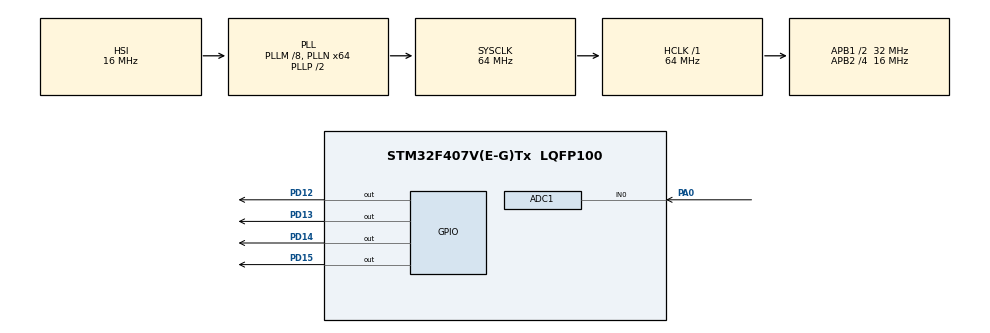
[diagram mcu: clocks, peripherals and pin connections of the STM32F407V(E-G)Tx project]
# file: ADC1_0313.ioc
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ADC1.Channel-0\#ChannelRegularConversion=ADC_CHANNEL_0
ADC1.NbrOfConversionFlag=1
ADC1.Rank-0\#ChannelRegularConversion=1
ADC1.SamplingTime-0\#ChannelRegularConversion=ADC_SAMPLETIME_3CYCLES
ADC1.master=1
Mcu.Family=STM32F4
Mcu.Name=STM32F407V(E-G)Tx
Mcu.Package=LQFP100
NVIC.PriorityGroup=NVIC_PRIORITYGROUP_0
PA0-WKUP.Signal=ADCx_IN0
PD12.Signal=GPIO_Output
PD13.Signal=GPIO_Output
PD14.Signal=GPIO_Output
PD15.Signal=GPIO_Output
ProjectManager.HeapSize=0x200
ProjectManager.StackSize=0x400
ProjectManager.TargetToolchain=STM32CubeIDE
RCC.48MHZClocksFreq_Value=18285714.285714287
RCC.AHBFreq_Value=64000000
RCC.APB1CLKDivider=RCC_HCLK_DIV2
RCC.APB1Freq_Value=32000000
RCC.APB1TimFreq_Value=64000000
RCC.APB2CLKDivider=RCC_HCLK_DIV4
RCC.APB2Freq_Value=16000000
RCC.APB2TimFreq_Value=32000000
RCC.CortexFreq_Value=64000000
RCC.HCLKFreq_Value=64000000
RCC.HSE_VALUE=8000000
RCC.HSI_VALUE=16000000
RCC.PLLM=8
RCC.PLLN=64
RCC.PLLQ=7
RCC.SYSCLKFreq_VALUE=64000000
RCC.SYSCLKSource=RCC_SYSCLKSOURCE_PLLCLK
RCC.VCOOutputFreq_Value=128000000
SH.ADCx_IN0.0=ADC1_IN0,IN0
board=STM32F407G-DISC1

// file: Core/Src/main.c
/* USER CODE BEGIN Header */
/**
  ******************************************************************************
  * @file           : main.c
  * @brief          : Main program body
  ******************************************************************************
  * @attention
  *
  * Copyright (c) 2023 STMicroelectronics.
  * All rights reserved.
  *
  * This software is licensed under terms that can be found in the LICENSE file
  * in the root directory of this software component.
  * If no LICENSE file comes with this software, it is provided AS-IS.
  *
  ******************************************************************************
  */
/* USER CODE END Header */
#include "main.h"

ADC_HandleTypeDef hadc1;

/* USER CODE BEGIN PV */
uint32_t valueADC1_ch0;
/* USER CODE END PV */

void SystemClock_Config(void);
static void MX_GPIO_Init(void);
static void MX_ADC1_Init(void);

int main(void)
{

  /* MCU Configuration--------------------------------------------------------*/

  /* Reset of all peripherals, Initializes the Flash interface and the Systick. */
  HAL_Init();

  /* Configure the system clock */
  SystemClock_Config();

  /* Initialize all configured peripherals */
  MX_GPIO_Init();
  MX_ADC1_Init();

  /* Infinite loop */
  /* USER CODE BEGIN WHILE */
  while (1)
  {
	  HAL_ADC_Start(&hadc1);
	  HAL_ADC_PollForConversion(&hadc1, 1000);
	  valueADC1_ch0 = HAL_ADC_GetValue(&hadc1);

	  if(valueADC1_ch0 < 2000)
	  {
		  HAL_GPIO_WritePin(GPIOD, GPIO_PIN_14, RESET);
		  HAL_GPIO_WritePin(GPIOD, GPIO_PIN_13, RESET);
		  HAL_GPIO_WritePin(GPIOD, GPIO_PIN_12, SET);
	  } else if (valueADC1_ch0 < 4094)
	  {
		  HAL_GPIO_WritePin(GPIOD, GPIO_PIN_14, RESET);
		  HAL_GPIO_WritePin(GPIOD, GPIO_PIN_13, SET);
		  HAL_GPIO_WritePin(GPIOD, GPIO_PIN_12, SET);
	  } else
	  {
		  HAL_GPIO_WritePin(GPIOD, GPIO_PIN_14, SET);
		  HAL_GPIO_WritePin(GPIOD, GPIO_PIN_13, SET);
		  HAL_GPIO_WritePin(GPIOD, GPIO_PIN_12, SET);
	  }

    /* USER CODE END WHILE */

  }
}

void SystemClock_Config(void)
{
  RCC_OscInitTypeDef RCC_OscInitStruct = {0};
  RCC_ClkInitTypeDef RCC_ClkInitStruct = {0};

  /** Configure the main internal regulator output voltage
  */
  __HAL_RCC_PWR_CLK_ENABLE();
  __HAL_PWR_VOLTAGESCALING_CONFIG(PWR_REGULATOR_VOLTAGE_SCALE1);

  /** Initializes the RCC Oscillators according to the specified parameters
  * in the RCC_OscInitTypeDef structure.
  */
  RCC_OscInitStruct.OscillatorType = RCC_OSCILLATORTYPE_HSI;
  RCC_OscInitStruct.HSIState = RCC_HSI_ON;
  RCC_OscInitStruct.HSICalibrationValue = RCC_HSICALIBRATION_DEFAULT;
  RCC_OscInitStruct.PLL.PLLState = RCC_PLL_ON;
  RCC_OscInitStruct.PLL.PLLSource = RCC_PLLSOURCE_HSI;
  RCC_OscInitStruct.PLL.PLLM = 8;
  RCC_OscInitStruct.PLL.PLLN = 64;
  RCC_OscInitStruct.PLL.PLLP = RCC_PLLP_DIV2;
  RCC_OscInitStruct.PLL.PLLQ = 7;
  if (HAL_RCC_OscConfig(&RCC_OscInitStruct) != HAL_OK)
  {
    Error_Handler();
  }

  /** Initializes the CPU, AHB and APB buses clocks
  */
  RCC_ClkInitStruct.ClockType = RCC_CLOCKTYPE_HCLK|RCC_CLOCKTYPE_SYSCLK
                              |RCC_CLOCKTYPE_PCLK1|RCC_CLOCKTYPE_PCLK2;
  RCC_ClkInitStruct.SYSCLKSource = RCC_SYSCLKSOURCE_PLLCLK;
  RCC_ClkInitStruct.AHBCLKDivider = RCC_SYSCLK_DIV1;
  RCC_ClkInitStruct.APB1CLKDivider = RCC_HCLK_DIV2;
  RCC_ClkInitStruct.APB2CLKDivider = RCC_HCLK_DIV4;

  if (HAL_RCC_ClockConfig(&RCC_ClkInitStruct, FLASH_LATENCY_2) != HAL_OK)
  {
    Error_Handler();
  }
}

static void MX_ADC1_Init(void)
{

  ADC_ChannelConfTypeDef sConfig = {0};

  /** Configure the global features of the ADC (Clock, Resolution, Data Alignment and number of conversion)
  */
  hadc1.Instance = ADC1;
  hadc1.Init.ClockPrescaler = ADC_CLOCK_SYNC_PCLK_DIV2;
  hadc1.Init.Resolution = ADC_RESOLUTION_12B;
  hadc1.Init.ScanConvMode = DISABLE;
  hadc1.Init.ContinuousConvMode = DISABLE;
  hadc1.Init.DiscontinuousConvMode = DISABLE;
  hadc1.Init.ExternalTrigConvEdge = ADC_EXTERNALTRIGCONVEDGE_NONE;
  hadc1.Init.ExternalTrigConv = ADC_SOFTWARE_START;
  hadc1.Init.DataAlign = ADC_DATAALIGN_RIGHT;
  hadc1.Init.NbrOfConversion = 1;
  hadc1.Init.DMAContinuousRequests = DISABLE;
  hadc1.Init.EOCSelection = ADC_EOC_SINGLE_CONV;
  if (HAL_ADC_Init(&hadc1) != HAL_OK)
  {
    Error_Handler();
  }

  /** Configure for the selected ADC regular channel its corresponding rank in the sequencer and its sample time.
  */
  sConfig.Channel = ADC_CHANNEL_0;
  sConfig.Rank = 1;
  sConfig.SamplingTime = ADC_SAMPLETIME_3CYCLES;
  if (HAL_ADC_ConfigChannel(&hadc1, &sConfig) != HAL_OK)
  {
    Error_Handler();
  }

}

static void MX_GPIO_Init(void)
{
  GPIO_InitTypeDef GPIO_InitStruct = {0};

  /* GPIO Ports Clock Enable */
  __HAL_RCC_GPIOA_CLK_ENABLE();
  __HAL_RCC_GPIOD_CLK_ENABLE();

  /*Configure GPIO pin Output Level */
  HAL_GPIO_WritePin(GPIOD, GPIO_PIN_12|GPIO_PIN_13|GPIO_PIN_14|GPIO_PIN_15, GPIO_PIN_RESET);

  /*Configure GPIO pins : PD12 PD13 PD14 PD15 */
  GPIO_InitStruct.Pin = GPIO_PIN_12|GPIO_PIN_13|GPIO_PIN_14|GPIO_PIN_15;
  GPIO_InitStruct.Mode = GPIO_MODE_OUTPUT_PP;
  GPIO_InitStruct.Pull = GPIO_NOPULL;
  GPIO_InitStruct.Speed = GPIO_SPEED_FREQ_LOW;
  HAL_GPIO_Init(GPIOD, &GPIO_InitStruct);

}

void Error_Handler(void)
{
  __disable_irq();
  while (1)
  {
  }
}
